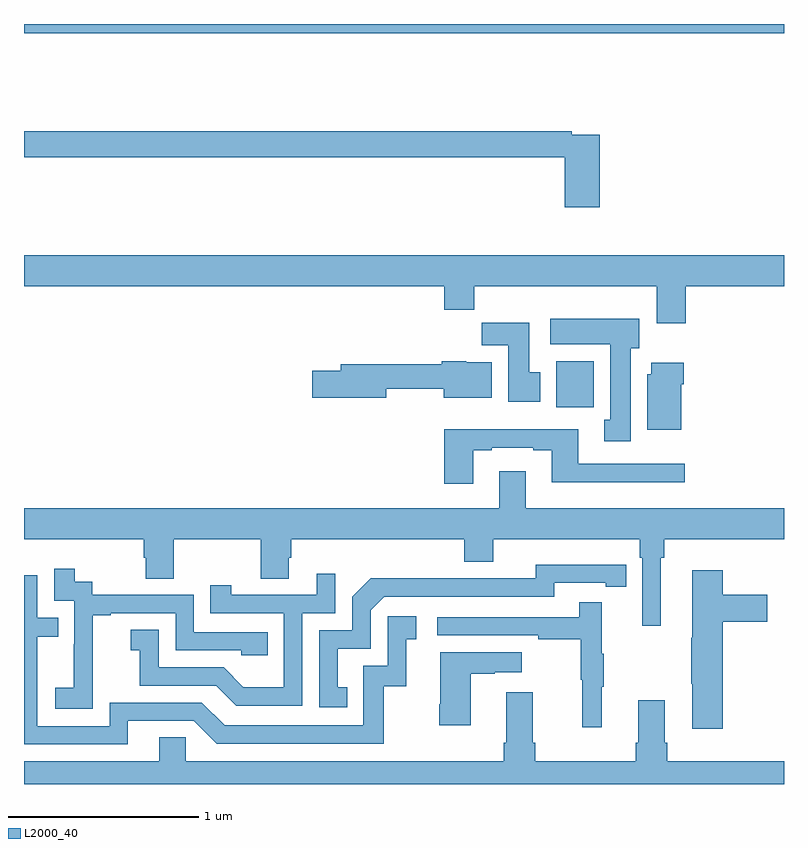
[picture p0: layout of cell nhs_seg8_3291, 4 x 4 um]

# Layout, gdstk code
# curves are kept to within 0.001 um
import gdstk
lib = gdstk.Library(unit=1e-6, precision=1e-09)
def R(c, l, rs):  # rectangles x0, y0, x1, y1
    for r in rs: c.add(gdstk.rectangle(r[:2], r[2:], *l))
def P(c, l, *ps):  # polygons
    for p in ps: c.add(gdstk.Polygon(p, *l))
L2000_40 = (2000, 40)

nhs_seg8_3291 = lib.new_cell('nhs_seg8_3291')
R(nhs_seg8_3291, L2000_40, [(317.801,1095.884,317.998,1096.126), (315,1097.852,319,1097.9)])
P(nhs_seg8_3291, L2000_40, [(318.029,1097.316),(317.882,1097.316),(317.882,1097.336),(315,1097.336),(315,1097.2),(317.846,1097.2),(317.846,1096.935),(318.029,1096.935)],
  [(318.482,1096.52),(319,1096.52),(319,1096.684),(315,1096.684),(315,1096.52),(317.213,1096.52),(317.213,1096.396),(317.369,1096.396),(317.369,1096.52),(318.329,1096.52),(318.329,1096.326),(318.482,1096.326)],
  [(318.193,1096.194),(318.238,1096.194),(318.238,1096.348),(317.769,1096.348),(317.769,1096.214),(318.086,1096.214),(318.086,1095.818),(318.053,1095.818),(318.053,1095.705),(318.193,1095.705)],
  [(317.716,1096.068),(317.659,1096.068),(317.659,1096.327),(317.41,1096.327),(317.41,1096.208),(317.549,1096.208),(317.549,1095.912),(317.716,1095.912)],
  [(316.906,1095.979),(317.21,1095.979),(317.21,1095.932),(317.461,1095.932),(317.461,1096.12),(317.328,1096.12),(317.328,1096.126),(317.198,1096.126),(317.198,1096.108),(316.667,1096.108),(316.667,1096.074),(316.518,1096.074),(316.518,1095.932),(316.906,1095.932)],
  [(318.46,1096.004),(318.473,1096.004),(318.473,1096.117),(318.302,1096.117),(318.302,1096.056),(318.281,1096.056),(318.281,1095.764),(318.46,1095.764)],
  [(317.365,1095.657),(317.461,1095.657),(317.461,1095.669),(317.681,1095.669),(317.681,1095.657),(317.777,1095.657),(317.777,1095.488),(318.478,1095.488),(318.478,1095.585),(317.917,1095.585),(317.917,1095.766),(317.213,1095.766),(317.213,1095.48),(317.365,1095.48)],
  [(318.352,1095.092),(318.371,1095.092),(318.371,1095.188),(319,1095.188),(319,1095.352),(317.641,1095.352),(317.641,1095.547),(317.501,1095.547),(317.501,1095.352),(315,1095.352),(315,1095.188),(315.629,1095.188),(315.629,1095.09),(315.641,1095.09),(315.641,1094.98),(315.789,1094.98),(315.789,1095.188),(316.246,1095.188),(316.246,1094.98),(316.393,1094.98),(316.393,1095.09),(316.406,1095.09),(316.406,1095.188),(317.318,1095.188),(317.318,1095.071),(317.47,1095.071),(317.47,1095.188),(318.242,1095.188),(318.242,1095.092),(318.255,1095.092),(318.255,1094.733),(318.352,1094.733)],
  [(316.7,1094.409),(316.651,1094.409),(316.651,1094.613),(316.824,1094.613),(316.824,1094.814),(316.896,1094.886),(317.79,1094.886),(317.79,1094.958),(318.062,1094.958),(318.062,1094.938),(318.17,1094.938),(318.17,1095.054),(317.694,1095.055),(317.694,1094.982),(317.234,1094.982),(317.234,1094.984),(316.826,1094.984),(316.728,1094.886),(316.728,1094.709),(316.554,1094.709),(316.554,1094.304),(316.7,1094.304)],
  [(315.363,1094.503),(315.362,1094.503),(315.362,1094.787),(315.457,1094.787),(315.457,1094.799),(315.798,1094.799),(315.798,1094.604),(316.143,1094.604),(316.143,1094.577),(316.283,1094.577),(316.283,1094.7),(315.894,1094.7),(315.894,1094.895),(315.36,1094.895),(315.36,1094.964),(315.268,1094.964),(315.268,1095.034),(315.159,1095.034),(315.159,1094.865),(315.264,1094.865),(315.264,1094.636),(315.263,1094.636),(315.263,1094.407),(315.165,1094.407),(315.165,1094.297),(315.363,1094.297)],
  [(318.677,1094.753),(318.913,1094.753),(318.913,1094.895),(318.677,1094.895),(318.677,1095.025),(318.518,1095.025),(318.518,1094.669),(318.511,1094.669),(318.511,1094.428),(318.518,1094.428),(318.518,1094.19),(318.677,1094.19)],
  [(316.464,1094.799),(316.638,1094.799),(316.638,1095.007),(316.541,1095.007),(316.541,1094.895),(316.09,1094.895),(316.09,1094.947),(315.979,1094.947),(315.979,1094.799),(316.368,1094.799),(316.368,1094.41),(316.154,1094.41),(316.05,1094.514),(315.708,1094.514),(315.708,1094.713),(315.561,1094.713),(315.561,1094.603),(315.61,1094.603),(315.61,1094.418),(316.013,1094.418),(316.118,1094.313),(316.464,1094.313)],
  [(315.547,1094.232),(315.894,1094.232),(316.014,1094.112),(316.894,1094.112),(316.894,1094.415),(317.012,1094.415),(317.012,1094.661),(317.065,1094.661),(317.065,1094.782),(316.914,1094.782),(316.914,1094.523),(316.785,1094.523),(316.785,1094.208),(316.056,1094.208),(315.936,1094.328),(315.45,1094.328),(315.45,1094.205),(315.069,1094.205),(315.069,1094.674),(315.179,1094.674),(315.179,1094.775),(315.069,1094.775),(315.069,1095),(315,1095),(315,1094.109),(315.547,1094.109)],
  [(318.041,1094.411),(318.052,1094.411),(318.052,1094.585),(318.041,1094.585),(318.041,1094.857),(317.923,1094.857),(317.923,1094.778),(317.175,1094.778),(317.175,1094.682),(317.707,1094.682),(317.707,1094.662),(317.931,1094.662),(317.931,1094.448),(317.938,1094.448),(317.938,1094.199),(318.041,1094.199)],
  [(317.35,1094.479),(317.477,1094.479),(317.477,1094.489),(317.62,1094.489),(317.62,1094.593),(317.192,1094.593),(317.192,1094.32),(317.185,1094.32),(317.185,1094.208),(317.35,1094.208)],
  [(319,1094.02),(318.386,1094.02),(318.386,1094.116),(318.373,1094.116),(318.373,1094.341),(318.233,1094.341),(318.233,1094.116),(318.221,1094.116),(318.221,1094.02),(317.69,1094.02),(317.69,1094.116),(317.677,1094.116),(317.677,1094.383),(317.537,1094.383),(317.537,1094.116),(317.525,1094.116),(317.525,1094.02),(315.852,1094.02),(315.852,1094.147),(315.713,1094.147),(315.713,1094.02),(315,1094.02),(315,1093.9),(319,1093.9)])

lib.write_gds('nhs_seg8_3291.gds')
